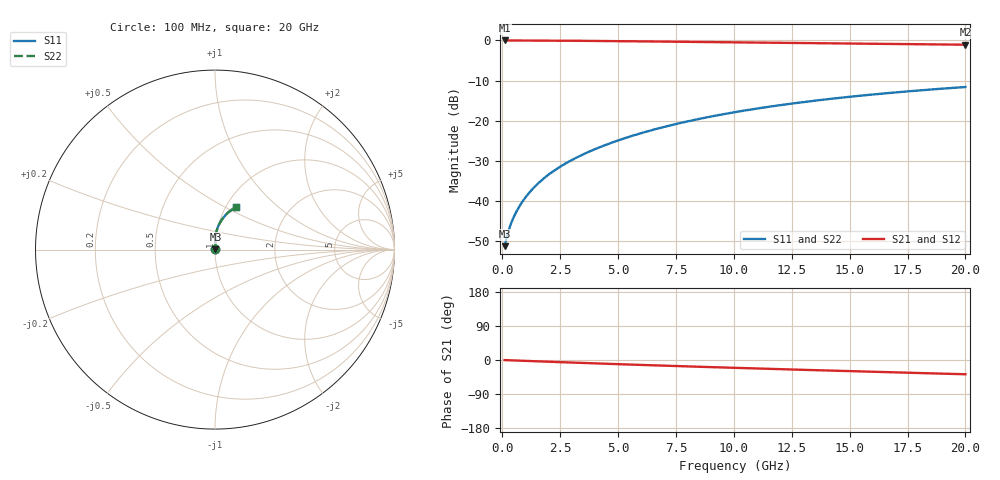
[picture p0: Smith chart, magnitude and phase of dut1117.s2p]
! Touchstone file exported from HFSS 2024.1.0
!  File:  C:/UserFiles/LocalFiles/RDL_TSV_Batchsim/temp_RDL_bottom_1117_1780054730.aedt
!  Generated:  07:40:45 PM May 29, 2026
!  Design:  RDL_bottom
!  Project:  temp_RDL_bottom_1117_1780054730
!  Setup:  Setup1
!  Solution:  Sweep
! Variables:
!  dtsv = 10.80580581um
!  hbump = 3um
!  htsv = 64.33um
!  ldown = 613.26um
!  lrdl = 100um
!  p = 40
!  p1 = 40.44um
!  rhole = 1um
!  t = 450um
!  tdown = 4.1um
!  trdl = 3.915915916um
!  wdown = 24.49um
!  wrdl = 20um
# GHz S MA R 50.000000
! Terminal data exported
! Port[1] = RDL1_T1
! Port[2] = RDL1_T2
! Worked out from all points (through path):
!   200 points, 100 MHz to 20 GHz, reference 50 ohm
!   highest |S21| = -0.02 dB at 100 MHz (marker M1); lowest = -1.1 dB at 20 GHz (marker M2)
!   group delay of S21, straight-line fit = 5.16 ps
!   lowest |S11| = -51.3 dB at 100 MHz (marker M3), VSWR 1.01, Z = 50.2 + j0.132 ohm
!   |S11| at or under -10 dB: start of sweep to end of sweep
!   |S22| runs from -51.3 to -11.6 dB; largest |S21 - S12| = 3.5e-15
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0.1  0.002732 28.8  0.9976 -0.2  0.9976 -0.2  0.002732 28.8
! Gamma 0 0 0 0
! Port Impedance 50 0 50 0
0.2  0.003602 44.2  0.9974 -0.5  0.9974 -0.5  0.003602 44.2
0.3  0.004528 52.4  0.9971 -0.7  0.9971 -0.7  0.004528 52.4
0.4  0.005437 57.8  0.9969 -0.9  0.9969 -0.9  0.005437 57.8
0.5  0.006341 62.0  0.9967 -1.2  0.9967 -1.2  0.006341 62.0
0.6  0.007253 65.3  0.9966 -1.4  0.9966 -1.4  0.007253 65.3
0.8  0.00912 70.4  0.9963 -1.8  0.9963 -1.8  0.00912 70.4
1  0.01104 74.0  0.9959 -2.3  0.9959 -2.3  0.01104 74.0
1.2  0.01302 76.7  0.9955 -2.8  0.9955 -2.8  0.01302 76.7
1.7  0.01812 81.1  0.9942 -3.9  0.9942 -3.9  0.01812 81.1
2.2  0.02343 83.7  0.9925 -5.0  0.9925 -5.0  0.02343 83.7
2.8  0.03005 85.7  0.9901 -6.3  0.9901 -6.3  0.03005 85.7
3.5  0.03812 87.1  0.9867 -7.8  0.9867 -7.8  0.03812 87.1
4.2  0.04658 87.8  0.9828 -9.3  0.9828 -9.3  0.04657 87.8
5  0.05669 88.1  0.978 -11.0  0.978 -11.0  0.05668 88.1
6.8  0.08093 87.2  0.9662 -14.6  0.9662 -14.6  0.08091 87.2
8.4  0.1037 85.3  0.9554 -17.7  0.9554 -17.7  0.1036 85.2
10.1  0.1284 82.5  0.9441 -20.8  0.9441 -20.8  0.1283 82.5
11.7  0.1517 79.7  0.9336 -23.7  0.9336 -23.7  0.1516 79.7
13.4  0.176 76.5  0.9228 -26.6  0.9228 -26.6  0.1759 76.4
16.7  0.2211 70.2  0.9025 -32.2  0.9025 -32.2  0.221 70.1
20  0.2625 64.0  0.8829 -37.6  0.8829 -37.6  0.2624 64.0
